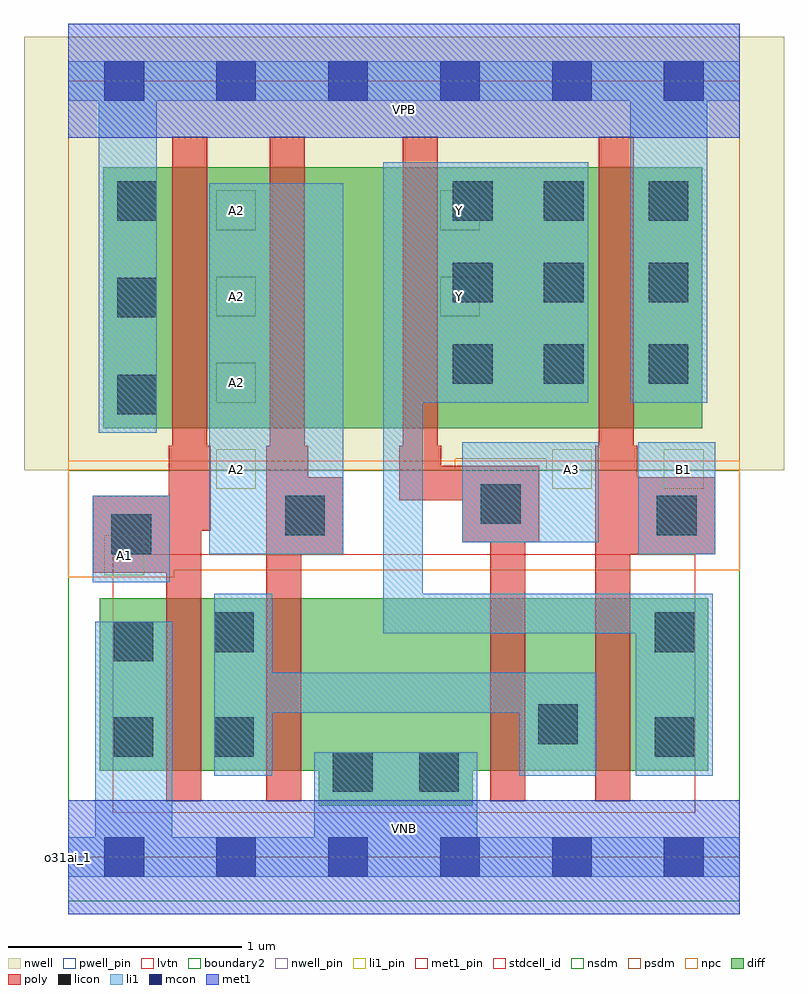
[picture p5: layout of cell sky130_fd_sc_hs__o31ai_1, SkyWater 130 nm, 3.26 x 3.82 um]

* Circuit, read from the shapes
.subckt sky130_fd_sc_hs__o31ai_1 A1 A2 A3 B1 VGND VNB VPB VPWR Y
XM1 n1 A1 VGND VNB sky130_fd_pr__nfet_01v8_lvt w=0.74 l=0.15
XM2 VGND A2 n1 VNB sky130_fd_pr__nfet_01v8_lvt w=0.74 l=0.15
XM3 n1 A3 VGND VNB sky130_fd_pr__nfet_01v8_lvt w=0.74 l=0.15
XM4 Y B1 n1 VNB sky130_fd_pr__nfet_01v8_lvt w=0.74 l=0.15
XM5 n2 A1 VPWR VPB sky130_fd_pr__pfet_01v8 w=1.12 l=0.15
XM6 n3 A2 n2 VPB sky130_fd_pr__pfet_01v8 w=1.12 l=0.15
XM7 Y A3 n3 VPB sky130_fd_pr__pfet_01v8 w=1.12 l=0.15
XM8 VPWR B1 Y VPB sky130_fd_pr__pfet_01v8 w=1.12 l=0.15
.ends

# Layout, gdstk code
import gdstk
lib = gdstk.Library(unit=1e-6, precision=1e-09)
def R(c, l, rs):  # rectangles x0, y0, x1, y1
    for r in rs: c.add(gdstk.rectangle(r[:2], r[2:], *l))
def A(c, l, x, y, w, h, nx, ny, dx, dy):  # array of equal rectangles
    R(c, l, [(x+i*dx, y+j*dy, x+i*dx+w, y+j*dy+h) for i in range(nx) for j in range(ny)])
def P(c, l, *ps):  # polygons
    for p in ps: c.add(gdstk.Polygon(p, *l))
nwell_pin = (64, 16)
nwell = (64, 20)
diff = (65, 20)
poly = (66, 20)
licon = (66, 44)
li1_pin = (67, 16)
li1 = (67, 20)
mcon = (67, 44)
met1_pin = (68, 16)
met1 = (68, 20)
stdcell_id = (81, 4)
nsdm = (93, 44)
psdm = (94, 20)
npc = (95, 20)
pwell_pin = (122, 16)
lvtn = (125, 44)
boundary2 = (236, 0)

sky130_fd_sc_hs__o31ai_1 = lib.new_cell('sky130_fd_sc_hs__o31ai_1')
R(sky130_fd_sc_hs__o31ai_1, nwell_pin, [(0,3.085,2.88,3.33)])
R(sky130_fd_sc_hs__o31ai_1, nwell, [(-0.19,1.66,3.07,3.52)])
R(sky130_fd_sc_hs__o31ai_1, diff, [(0.15,1.84,2.72,2.96)])
P(sky130_fd_sc_hs__o31ai_1, diff, [(2.745,1.11),(0.135,1.11),(0.135,0.37),(1.075,0.37),(1.075,0.22),(1.735,0.22),(1.735,0.37),(2.745,0.37)])
P(sky130_fd_sc_hs__o31ai_1, poly, [(2.775,1.63),(2.44,1.63),(2.44,1.765),(2.425,1.765),(2.425,3.09),(2.275,3.09),(2.275,1.765),(2.26,1.765),(2.26,0.24),(2.41,0.24),(2.41,1.3),(2.775,1.3)],
  [(2.02,1.68),(1.6,1.68),(1.6,1.765),(1.585,1.765),(1.585,3.09),(1.435,3.09),(1.435,1.765),(1.42,1.765),(1.42,1.53),(1.69,1.53),(1.69,1.35),(1.81,1.35),(1.81,0.24),(1.96,0.24),(1.96,1.35),(2.02,1.35)],
  [(1.18,1.63),(1.03,1.63),(1.03,1.765),(1.015,1.765),(1.015,3.09),(0.865,3.09),(0.865,1.765),(0.85,1.765),(0.85,0.24),(1,0.24),(1,1.3),(1.18,1.3)],
  [(0.61,1.765),(0.595,1.765),(0.595,3.09),(0.445,3.09),(0.445,1.765),(0.43,1.765),(0.43,1.55),(0.105,1.55),(0.105,1.22),(0.42,1.22),(0.42,0.24),(0.57,0.24),(0.57,1.4),(0.61,1.4)])
A(sky130_fd_sc_hs__o31ai_1, licon, 0.21, 1.9, 0.17, 0.17, 1, 3, 0, 0.415)
A(sky130_fd_sc_hs__o31ai_1, licon, 1.65, 2.03, 0.17, 0.17, 1, 3, 0, 0.35)
A(sky130_fd_sc_hs__o31ai_1, licon, 2.04, 2.03, 0.17, 0.17, 1, 3, 0, 0.35)
A(sky130_fd_sc_hs__o31ai_1, licon, 2.49, 2.03, 0.17, 0.17, 1, 3, 0, 0.35)
R(sky130_fd_sc_hs__o31ai_1, licon, [(1.135,0.28,1.305,0.45), (1.505,0.28,1.675,0.45), (0.195,0.43,0.365,0.6), (0.625,0.43,0.795,0.6), (2.515,0.43,2.685,0.6), (2.015,0.485,2.185,0.655), (0.195,0.84,0.365,1.01), (0.625,0.88,0.795,1.05), (2.515,0.88,2.685,1.05), (0.185,1.3,0.355,1.47), (0.93,1.38,1.1,1.55), (2.525,1.38,2.695,1.55), (1.77,1.43,1.94,1.6)])
A(sky130_fd_sc_hs__o31ai_1, li1_pin, 0.635, 1.58, 0.17, 0.17, 1, 4, 0, 0.37)
R(sky130_fd_sc_hs__o31ai_1, li1_pin, [(0.155,1.21,0.325,1.38), (2.075,1.58,2.245,1.75), (2.555,1.58,2.725,1.75), (1.595,2.32,1.765,2.49), (1.595,2.69,1.765,2.86)])
R(sky130_fd_sc_hs__o31ai_1, li1, [(0.105,1.18,0.435,1.55), (0.605,1.3,1.18,2.89), (2.445,1.3,2.775,1.78), (1.69,1.35,2.275,1.78)])
P(sky130_fd_sc_hs__o31ai_1, li1, [(0,-0.085),(0,0.085),(0.115,0.085),(0.115,1.01),(0.445,1.01),(0.445,0.085),(1.055,0.085),(1.055,0.45),(1.755,0.45),(1.755,0.085),(2.88,0.085),(2.88,-0.085)],
  [(0,3.245),(0,3.415),(2.88,3.415),(2.88,3.245),(2.74,3.245),(2.74,1.95),(2.41,1.95),(2.41,3.245),(0.38,3.245),(0.38,1.82),(0.13,1.82),(0.13,3.245)],
  [(1.35,2.98),(2.23,2.98),(2.23,1.95),(1.52,1.95),(1.52,1.13),(2.765,1.13),(2.765,0.35),(2.435,0.35),(2.435,0.96),(1.35,0.96)],
  [(0.625,0.35),(0.625,1.13),(0.875,1.13),(0.875,0.79),(2.265,0.79),(2.265,0.35),(1.935,0.35),(1.935,0.62),(0.875,0.62),(0.875,0.35)])
A(sky130_fd_sc_hs__o31ai_1, mcon, 0.155, -0.085, 0.17, 0.17, 6, 2, 0.48, 3.33)
R(sky130_fd_sc_hs__o31ai_1, met1_pin, [(0,0,2.88,0.245), (0,3.085,2.88,3.33)])
R(sky130_fd_sc_hs__o31ai_1, met1, [(0,-0.245,2.88,0.245), (0,3.085,2.88,3.575)])
R(sky130_fd_sc_hs__o31ai_1, stdcell_id, [(0,0,2.88,3.33)])
R(sky130_fd_sc_hs__o31ai_1, nsdm, [(0,-0.19,2.88,1.66)])
P(sky130_fd_sc_hs__o31ai_1, psdm, [(2.88,3.52),(0,3.52),(0,1.66),(1.66,1.66),(1.66,1.71),(2.05,1.71),(2.05,1.66),(2.88,1.66)])
P(sky130_fd_sc_hs__o31ai_1, npc, [(2.88,1.7),(0,1.7),(0,1.2),(0.455,1.2),(0.455,1.23),(2.88,1.23)])
R(sky130_fd_sc_hs__o31ai_1, pwell_pin, [(0,0,2.88,0.245)])
R(sky130_fd_sc_hs__o31ai_1, lvtn, [(0.19,0.19,2.69,1.3)])
R(sky130_fd_sc_hs__o31ai_1, boundary2, [(0,0,2.88,3.33)])
sky130_fd_sc_hs__o31ai_1.add(gdstk.Label('o31ai_1', (0,0), layer=83, texttype=44))
sky130_fd_sc_hs__o31ai_1.add(gdstk.Label('VNB', (1.44,0.123), layer=64, texttype=59))
sky130_fd_sc_hs__o31ai_1.add(gdstk.Label('VPB', (1.44,3.208), layer=64, texttype=5))
sky130_fd_sc_hs__o31ai_1.add(gdstk.Label('VPWR', (1.44,3.208), layer=68, texttype=5))
sky130_fd_sc_hs__o31ai_1.add(gdstk.Label('VGND', (1.44,0.123), layer=68, texttype=5))
sky130_fd_sc_hs__o31ai_1.add(gdstk.Label('A3', (2.16,1.665), layer=67, texttype=5))
sky130_fd_sc_hs__o31ai_1.add(gdstk.Label('A2', (0.72,1.665), layer=67, texttype=5))
sky130_fd_sc_hs__o31ai_1.add(gdstk.Label('A2', (0.72,2.035), layer=67, texttype=5))
sky130_fd_sc_hs__o31ai_1.add(gdstk.Label('A2', (0.72,2.405), layer=67, texttype=5))
sky130_fd_sc_hs__o31ai_1.add(gdstk.Label('A2', (0.72,2.775), layer=67, texttype=5))
sky130_fd_sc_hs__o31ai_1.add(gdstk.Label('B1', (2.64,1.665), layer=67, texttype=5))
sky130_fd_sc_hs__o31ai_1.add(gdstk.Label('A1', (0.24,1.295), layer=67, texttype=5))
sky130_fd_sc_hs__o31ai_1.add(gdstk.Label('Y', (1.68,2.405), layer=67, texttype=5))
sky130_fd_sc_hs__o31ai_1.add(gdstk.Label('Y', (1.68,2.775), layer=67, texttype=5))

lib.write_gds('sky130_fd_sc_hs__o31ai_1.gds')
